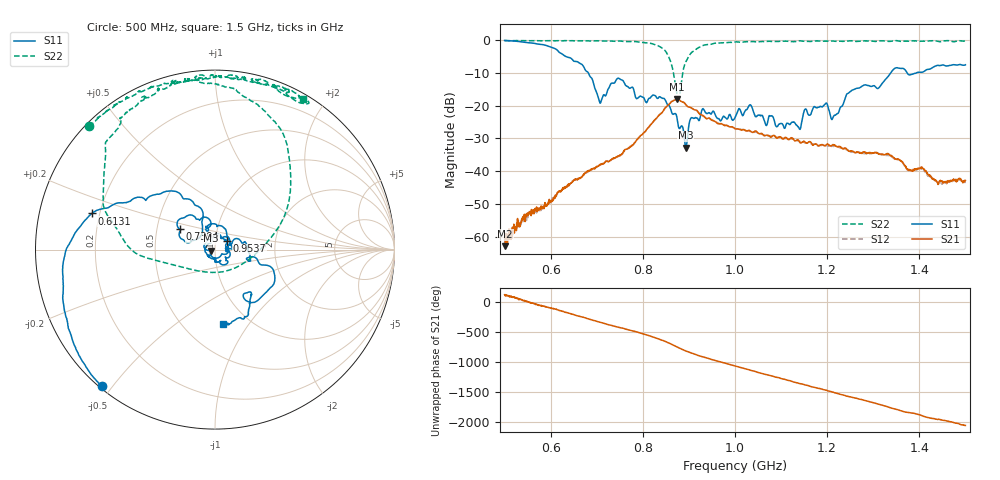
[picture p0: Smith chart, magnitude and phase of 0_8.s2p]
!Agilent Technologies,E8364B,US42250235,A.06.04.32
!Agilent E8364B: A.06.04.32
!Date: Friday, January 15, 2021 16:23:47
!Correction: S11(Full 2 Port(1,2)) S21(Full 2 Port(1,2)) S12(Full 2 Port(1,2)) S22(Full 2 Port(1,2))
!S2P File: Measurements: S11, S21, S12, S22:
# Hz S  dB  R 50
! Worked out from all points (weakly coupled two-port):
!   1601 points, 500 MHz to 1.5 GHz, reference 50 ohm
!   highest |S21| = -18.11 dB at 873.1 MHz (marker M1); lowest = -63.0 dB at 501.2 MHz (marker M2)
!   lowest |S11| = -32.9 dB at 893.1 MHz (marker M3), VSWR 1.05, Z = 47.9 - j0.625 ohm
!   |S11| at or under -10 dB: 681.8 MHz to 1.338 GHz (656.2 MHz wide, 65 % of centre); 1.374 GHz to 1.394 GHz (20.13 MHz wide, 1.45 % of centre)
!   |S22| runs from -17.9 to -0.1 dB; largest |S21 - S12| = 0.0028
!   S11 on the Smith chart (normalised r, x): 500 MHz: 0.01, -0.47; 613.1 MHz: 0.17, +0.14; 739.4 MHz: 0.66, +0.16; 953.8 MHz: 1.13, +0.11; 1.5 GHz: 0.76, -0.77
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5e8  -0.10 -129.5  -60.15 127.9  -61.16 131.0  -0.16 135.5
5.0125e8  -0.11 -130.0  -62.95 109.9  -59.72 128.5  -0.16 135.4
5.65625e8  -1.00 -162.1  -51.46 -24.9  -52.13 -21.6  -0.16 128.5
6.13125e8  -2.92 163.6  -47.07 -118.3  -47.10 -116.4  -0.18 123.1
6.66875e8  -7.32 132.2  -41.87 117.2  -41.91 118.2  -0.21 115.4
7.06875e8  -19.19 135.5  -38.19 26.8  -38.13 28.8  -0.24 111.9
7.39375e8  -12.93 149.7  -35.98 -42.4  -35.99 -41.2  -0.36 104.3
8.3375e8  -17.67 84.3  -23.14 108.4  -23.18 108.7  -1.76 69.7
8.575e8  -20.04 36.5  -19.51 35.9  -19.59 36.3  -5.52 37.6
8.73125e8  -23.09 -18.9  -18.11 -23.0  -18.12 -22.6  -15.79 -34.0
8.79375e8  -27.02 -32.3  -18.35 -47.2  -18.33 -46.9  -17.30 -114.4
8.93125e8  -32.90 -163.3  -19.70 -94.4  -19.67 -93.3  -6.69 -179.5
9.0625e8  -23.68 156.7  -20.79 -129.8  -20.86 -129.6  -3.73 160.3
9.5375e8  -21.85 36.0  -24.69 114.3  -24.60 113.5  -1.01 126.1
1e9  -23.68 3.9  -27.06 14.5  -26.88 14.4  -0.55 114.7
1.033125e9  -19.75 -50.0  -27.76 -55.8  -27.93 -56.4  -0.48 109.4
1.13875e9  -26.76 123.0  -30.76 83.8  -30.86 83.6  -0.22 94.0
1.166875e9  -21.70 56.8  -31.69 26.3  -31.73 27.9  -0.35 90.2
1.213125e9  -23.45 14.0  -31.93 -63.6  -32.38 -64.7  -0.28 88.7
1.2475e9  -16.07 13.3  -33.94 -136.5  -33.68 -139.1  -0.23 82.8
1.33375e9  -10.84 -17.4  -34.85 45.2  -35.19 44.2  -0.38 75.4
1.5e9  -7.54 -83.5  -42.86 100.7  -43.26 93.1  -0.25 59.5
